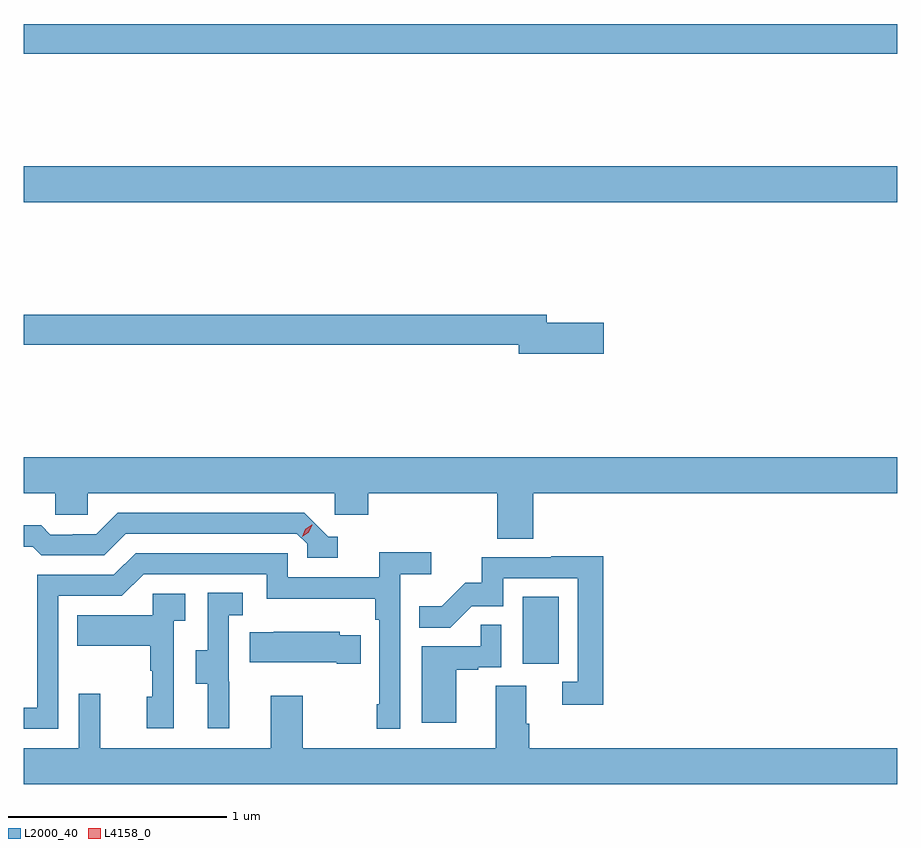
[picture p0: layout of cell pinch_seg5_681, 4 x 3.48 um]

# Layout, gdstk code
import gdstk
lib = gdstk.Library(unit=1e-6, precision=1e-09)
def R(c, l, rs):  # rectangles x0, y0, x1, y1
    for r in rs: c.add(gdstk.rectangle(r[:2], r[2:], *l))
def P(c, l, *ps):  # polygons
    for p in ps: c.add(gdstk.Polygon(p, *l))
L2000_40 = (2000, 40)
L4158_0 = (4158, 0)

pinch_seg5_681 = lib.new_cell('pinch_seg5_681')
R(pinch_seg5_681, L2000_40, [(1095.764,835.998,1095.928,836.305), (1093.479,838.112,1097.479,838.276), (1093.479,838.792,1097.479,838.928)])
P(pinch_seg5_681, L2000_40, [(1096.135,837.56),(1095.874,837.56),(1095.874,837.596),(1093.479,837.596),(1093.479,837.46),(1095.746,837.46),(1095.746,837.418),(1096.135,837.418)],
  [(1095.812,836.78),(1097.479,836.78),(1097.479,836.944),(1093.479,836.944),(1093.479,836.78),(1093.623,836.78),(1093.623,836.682),(1093.773,836.682),(1093.773,836.78),(1094.904,836.78),(1094.904,836.682),(1095.056,836.682),(1095.056,836.78),(1095.647,836.78),(1095.647,836.572),(1095.812,836.572)],
  [(1094.917,836.58),(1094.874,836.58),(1094.763,836.691),(1093.91,836.691),(1093.811,836.592),(1093.704,836.592),(1093.704,836.589),(1093.601,836.589),(1093.559,836.632),(1093.479,836.632),(1093.479,836.535),(1093.52,836.535),(1093.559,836.496),(1093.848,836.496),(1093.947,836.595),(1094.73,836.595),(1094.778,836.547),(1094.778,836.484),(1094.917,836.484)],
  [(1093.638,836.31),(1093.929,836.31),(1094.028,836.409),(1094.592,836.409),(1094.592,836.297),(1095.088,836.297),(1095.088,836.201),(1095.108,836.201),(1095.108,835.813),(1095.096,835.813),(1095.096,835.701),(1095.204,835.701),(1095.204,836.408),(1095.346,836.408),(1095.346,836.51),(1095.107,836.51),(1095.107,836.394),(1094.688,836.394),(1094.688,836.505),(1093.991,836.505),(1093.892,836.406),(1093.542,836.406),(1093.542,835.797),(1093.479,835.797),(1093.479,835.701),(1093.638,835.701)],
  [(1096.133,836.492),(1095.895,836.492),(1095.895,836.487),(1095.577,836.487),(1095.577,836.37),(1095.5,836.37),(1095.393,836.263),(1095.289,836.263),(1095.289,836.164),(1095.433,836.164),(1095.531,836.262),(1095.675,836.262),(1095.675,836.391),(1096.017,836.391),(1096.017,835.917),(1095.945,835.917),(1095.945,835.812),(1096.133,835.812)],
  [(1094.42,835.917),(1094.418,835.917),(1094.418,836.221),(1094.482,836.221),(1094.482,836.324),(1094.322,836.324),(1094.322,836.061),(1094.267,836.061),(1094.267,835.906),(1094.321,835.906),(1094.321,835.704),(1094.42,835.704)],
  [(1094.166,836.195),(1094.218,836.195),(1094.218,836.319),(1094.07,836.319),(1094.07,836.221),(1093.723,836.221),(1093.723,836.081),(1094.058,836.081),(1094.058,835.967),(1094.068,835.967),(1094.068,835.848),(1094.042,835.848),(1094.042,835.704),(1094.166,835.704)],
  [(1095.46,835.971),(1095.56,835.971),(1095.56,835.983),(1095.666,835.983),(1095.666,836.177),(1095.571,836.177),(1095.571,836.079),(1095.302,836.079),(1095.302,835.728),(1095.46,835.728)],
  [(1095.023,836.128),(1094.925,836.128),(1094.925,836.146),(1094.623,836.146),(1094.623,836.143),(1094.515,836.143),(1094.515,836.006),(1094.912,836.006),(1094.912,835.999),(1095.023,835.999)],
  [(1097.479,835.612),(1095.794,835.612),(1095.794,835.724),(1095.781,835.724),(1095.781,835.898),(1095.641,835.898),(1095.641,835.612),(1094.757,835.612),(1094.757,835.852),(1094.609,835.852),(1094.609,835.612),(1093.829,835.612),(1093.829,835.861),(1093.731,835.861),(1093.731,835.612),(1093.479,835.612),(1093.479,835.448),(1097.479,835.448)])
P(pinch_seg5_681, L4158_0, [(1094.754,836.581),(1094.754,836.581),(1094.769,836.614),(1094.799,836.634),(1094.8,836.634),(1094.8,836.634),(1094.784,836.601),(1094.754,836.581)])

lib.write_gds('pinch_seg5_681.gds')
